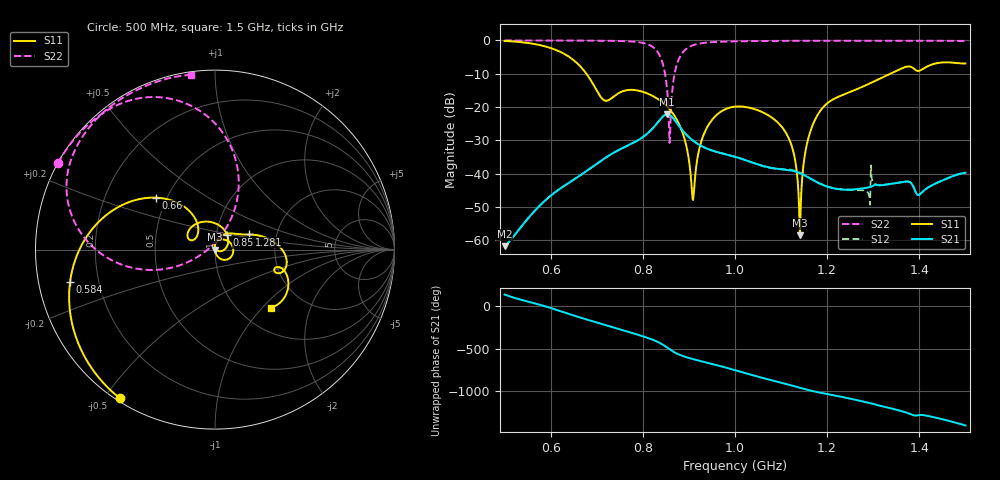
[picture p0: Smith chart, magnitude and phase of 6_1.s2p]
! TOUCHSTONE file generated by CST MICROWAVE STUDIO
! Date and time: Fri Oct  2 18:45:49 2020
! Project name: Scenario_1_Free_Space_out_of_line.cst
! Parameters = {Lambda=346.42; Step_1=17.321; dy1=260.935; dx1=173; L_HA=400; MT=2.54; Rad_Dielectric=30; Rad_Lower=7.3; Rad_Upper=30; a_HA=580; a_WG=246; b_HA=500; b_WG=121; c_HA=0; c_WG=187; d_feed=85; h_feed=15; h_lower=18; h_upper=40}
! Header version: 2018
! Port assignment regex: !\s*Touchstone port\s*([0-9]+)\s*=\s*(CST MWS port|CST DS port)\s*([0-9]+|Zmin|Zmax)\s*\(\"(.*)\"\)(\s*mode\s*([0-9]+))?.*
! Touchstone port assignment:
! Touchstone port 1 = CST MWS port 1 ("")
! Touchstone port 2 = CST MWS port 2 ("")
# GHz S DB R 50
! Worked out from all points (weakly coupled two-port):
!   1003 points, 500 MHz to 1.5 GHz, reference 50 ohm
!   highest |S21| = -22.13 dB at 853 MHz (marker M1); lowest = -61.7 dB at 500 MHz (marker M2)
!   lowest |S11| = -58.4 dB at 1.141 GHz (marker M3), VSWR 1.00, Z = 49.9 + j0.0141 ohm
!   |S11| at or under -10 dB: 677.5 MHz to 1.337 GHz (659 MHz wide, 65.4 % of centre)
!   |S22| runs from -30.7 to 0.0 dB; largest |S21 - S12| = 0.0081
!   S11 on the Smith chart (normalised r, x): 500 MHz: 0.01, -0.55; 584 MHz: 0.10, -0.11; 660 MHz: 0.44, +0.31; 850 MHz: 1.13, +0.19; 1.281 GHz: 1.44, +0.25; 1.5 GHz: 1.37, -1.12
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0.5  -0.15 -122.6  -61.72 133.8  -61.72 133.8  -0.01 151.1
0.584  -1.64 -167.4  -48.52 2.7  -48.53 2.6  -0.01 145.3
0.66  -7.18 138.6  -40.87 -128.8  -40.86 -128.8  -0.04 138.9
0.667  -8.19 133.7  -40.21 -140.4  -40.21 -140.4  -0.04 138.3
0.717  -18.01 142.0  -35.38 139.9  -35.43 139.8  -0.10 132.6
0.834  -17.70 73.4  -24.34 -65.2  -24.29 -65.3  -3.88 85.3
0.85  -19.47 50.0  -22.22 -117.2  -22.19 -117.3  -11.66 64.4
0.853  -19.88 45.3  -22.13 -128.5  -22.11 -128.6  -15.38 62.3
0.86  -20.96 34.1  -22.51 -154.6  -22.51 -154.7  -24.39 -166.6
0.869  -22.68 19.1  -23.87 175.9  -23.87 176.0  -9.93 -159.7
0.888  -28.40 -11.8  -27.30 131.6  -27.30 131.7  -3.36 178.8
0.909  -47.89 42.4  -30.08 97.1  -30.08 97.1  -1.44 163.7
0.938  -26.46 75.3  -32.38 57.0  -32.38 56.9  -0.65 152.1
1  -19.86 1.6  -34.91 -32.1  -34.90 -32.1  -0.28 140.1
1.106  -26.75 -66.3  -38.72 172.7  -38.60 172.6  -0.13 129.2
1.127  -33.59 -78.5  -39.17 141.4  -38.94 140.4  -0.11 127.4
1.141  -58.41 173.2  -39.81 120.1  -39.66 118.5  -0.11 126.2
1.167  -25.95 79.3  -41.71 84.6  -41.72 83.8  -0.10 124.2
1.281  -13.63 23.9  -44.30 -43.1  -44.99 -45.2  -0.09 115.5
1.334  -10.17 10.6  -43.13 -113.8  -43.13 -113.8  -0.09 111.4
1.399  -9.15 -17.3  -46.37 162.1  -46.36 162.1  -0.10 106.4
1.5  -6.91 -46.5  -39.70 40.2  -39.66 40.3  -0.15 97.8
